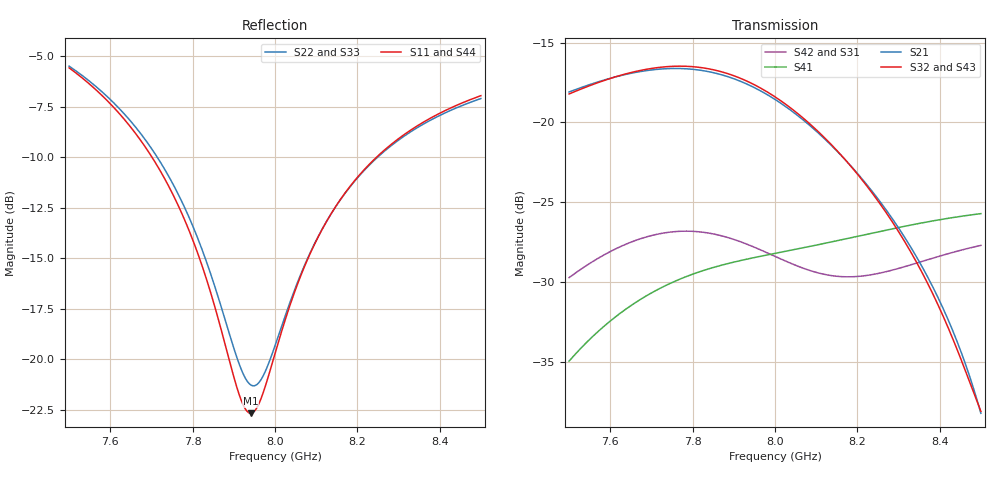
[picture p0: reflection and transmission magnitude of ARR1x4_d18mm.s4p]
! Touchstone file exported from HFSS 2025.1.0
!  File:  C:/Users/user/Documents/Ansoft/TFG_UWB-MIMO-Array.aedt
!  Generated:  05:34:58 PM Nov 20, 2026
!  Design:  ARR1x4_P01_MS2_dparam
!  Project:  TFG_UWB-MIMO-Array
!  Setup:  Setup_ch9
!  Solution:  Sweep_7p5_8p5
! Variables:
!  arr_d = 18mm
!  board_m = 13mm
!  board_x = 80mm
!  board_y = 26mm
!  cu_t = 0.035mm
!  line_w = 3.92mm
!  pad_xy = 22mm
!  pad_zn = 25mm
!  pad_zp = 33mm
!  patch_L = 7.322mm
!  patch_W = 11.421266mm
!  sub_h = 2.07mm
!  tr_l = 7.1mm
!  tr_w = 0.8mm
# GHz S MA R 50.000000
! Terminal data exported
! Port[1] = P1
! Port[2] = P2
! Port[3] = P3
! Port[4] = P4
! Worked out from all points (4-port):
!   1001 points, 7.5 GHz to 8.5 GHz, reference 50 ohm
!   strongest paths, dB at 7.5 GHz, 7.75 GHz, 8 GHz, 8.25 GHz, 8.5 GHz:
!     S32: -18.2, -16.5, -18.4, -24.9, -38.1
!     S43: -18.1, -16.6, -18.6, -24.8, -38.7
!     S21: -18.1, -16.6, -18.6, -24.8, -38.2
!     S41: -35.0, -30.0, -28.2, -26.9, -25.7
!     S42: -29.7, -26.9, -28.4, -29.5, -27.7
!     S31: -29.8, -26.9, -28.4, -29.5, -27.8
!   lowest |S11| = -22.7 dB at 7.941 GHz (marker M1), VSWR 1.16, Z = 57.4 + j2.76 ohm
!   |S11| at or under -10 dB: 7.701 GHz to 8.246 GHz (545.1 MHz wide, 6.84 % of centre)
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7.5  0.5265 157.6  0.1246 -39.6  0.03238 168.4  0.01787 -17.2
     0.1246 -39.6  0.5316 158.5  0.1228 -37.1  0.03264 168.0
     0.03238 168.4  0.1228 -37.1  0.533 158.6  0.1249 -39.8
     0.01787 -17.2  0.03264 168.0  0.1249 -39.8  0.5224 157.1
7.74  0.2703 120.8  0.1474 -89.6  0.045 95.9  0.03107 -101.8
      0.1474 -89.6  0.2859 120.9  0.1496 -86.7  0.04524 95.4
      0.045 95.9  0.1496 -86.7  0.2882 121.4  0.1476 -89.7
      0.03107 -101.8  0.04524 95.4  0.1476 -89.7  0.2651 119.9
7.941  0.07341 19.0  0.1302 -137.6  0.04091 17.5  0.03751 171.9
       0.1302 -137.6  0.08633 25.3  0.133 -135.1  0.04109 17.1
       0.04091 17.5  0.133 -135.1  0.08525 27.8  0.1303 -137.7
       0.03751 171.9  0.04109 17.1  0.1303 -137.7  0.07499 14.2
8.069  0.1671 -61.8  0.1017 -167.1  0.0347 -40.3  0.04049 117.0
       0.1017 -167.1  0.1682 -57.7  0.103 -164.4  0.03491 -40.8
       0.0347 -40.3  0.103 -164.4  0.1645 -57.5  0.1016 -167.2
       0.04049 117.0  0.03491 -40.8  0.1016 -167.2  0.1724 -62.6
8.165  0.2537 -82.5  0.07775 172.7  0.03259 -85.3  0.04298 79.4
       0.07775 172.7  0.2533 -80.4  0.07784 176.1  0.03285 -85.7
       0.03259 -85.3  0.07784 176.1  0.2497 -80.5  0.07763 172.5
       0.04298 79.4  0.03285 -85.7  0.07763 172.5  0.2585 -82.9
8.364  0.3882 -108.6  0.03404 137.5  0.03655 -164.4  0.04863 13.8
       0.03404 137.5  0.3839 -108.0  0.03256 147.0  0.03691 -164.5
       0.03655 -164.4  0.03256 147.0  0.3809 -108.1  0.03362 137.2
       0.04863 13.8  0.03691 -164.5  0.03362 137.2  0.3913 -109.0
8.5  0.4493 -121.7  0.01226 125.7  0.04077 155.5  0.05178 -23.3
     0.01226 125.7  0.442 -121.3  0.01244 156.0  0.04118 155.5
     0.04077 155.5  0.01244 156.0  0.4392 -121.5  0.01165 126.4
     0.05178 -23.3  0.04118 155.5  0.01165 126.4  0.4509 -122.1
